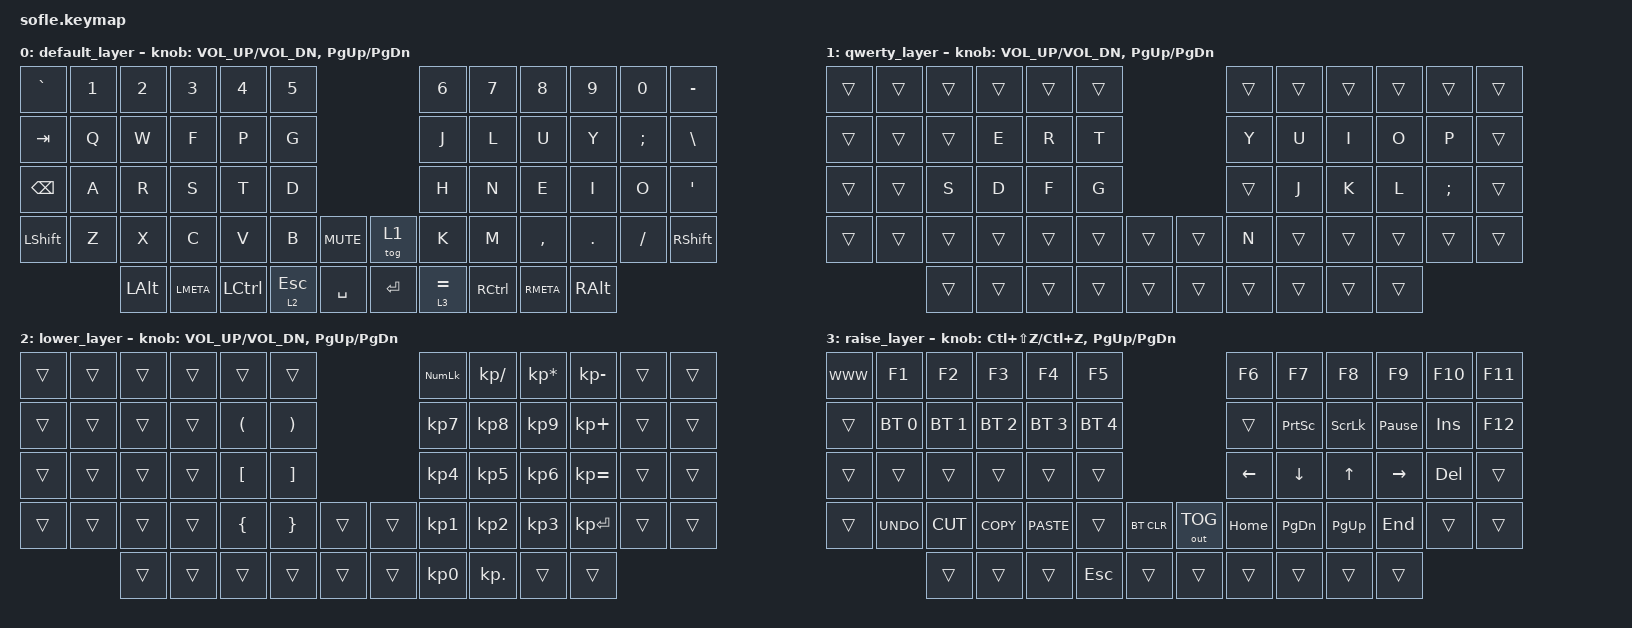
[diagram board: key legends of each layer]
/*
 * Copyright (c) 2020 The ZMK Contributors
 *
 * SPDX-License-Identifier: MIT
 */

#include <behaviors.dtsi>
#include <dt-bindings/zmk/keys.h>
#include <dt-bindings/zmk/bt.h>
#include <dt-bindings/zmk/outputs.h>

&lt {
    flavor = "hold-preferred";
};

/ {
    combos {
        compatible = "zmk,combos";
        combo_caps {
            timeout-ms = <40>;
            key-positions = <36 49>;
            bindings = <&kp CAPS>;
        };
    };

    keymap {
        compatible = "zmk,keymap";

        default_layer {
// -----------------------------------------------------------------------------------------------------------
// |  `    |  1  |  2   |  3   |  4   |  5   |                   |  6   |  7  |  8   |  9   |   0   |   -   |
// |  TAB  |  Q  |  W   |  F   |  P   |  G   |                   |  J   |  L  |  U   |  Y   |   ;   |   \   |
// | BKSPC |  A  |  R   |  S   |  T   |  D   |                   |  H   |  N  |  E   |  I   |   O   |   '   |
// | SHIFT |  Z  |  X   |  C   |  V   |  B   |  MUTE  |  |QWERTY |  K   |  M  |  ,   |  .   |   /   | SHIFT |
//               | ALT  | META | CTRL |ESC/LO|  SPACE |  | ENTER | =/RA | CTRL| META | ALT  |
            bindings = <
&kp GRAVE &kp N1 &kp N2    &kp N3    &kp N4    &kp N5                           &kp N6      &kp N7    &kp N8      &kp N9   &kp N0   &kp MINUS
&kp TAB   &kp Q  &kp W     &kp F     &kp P     &kp G                            &kp J       &kp L     &kp U       &kp Y    &kp SEMI &kp BSLH
&kp BSPC  &kp A  &kp R     &kp S     &kp T     &kp D                            &kp H       &kp N     &kp E       &kp I    &kp O    &kp SQT
&kp LSHFT &kp Z  &kp X     &kp C     &kp V     &kp B     &kp C_MUTE   &tog 1    &kp K       &kp M     &kp COMMA   &kp DOT  &kp FSLH &kp RSHFT
                 &kp LALT  &kp LMETA &kp LCTRL &lt 2 ESC &kp SPACE    &kp RET   &lt 3 EQUAL &kp RCTRL &kp RMETA   &kp RALT
            >;

            sensor-bindings = <&inc_dec_kp C_VOL_UP C_VOL_DN &inc_dec_kp PG_UP PG_DN>;
        };
 
        qwerty_layer {
// --------------------------------------------------------------------------------------------------------
// |     |      |      |       |       |     |                |      |      |      |      |       |       |
// |     |      |      |   E   |   R   |  T  |                |   Y  |   U  |   I  |   O  |  P    |       |
// |     |      |  S   |   D   |   F   |  G  |                |      |   J  |   K  |   L  |  ;    |       |
// |     |      |      |       |       |     |      |  |      |   N  |      |      |      |       |       |
//              |      |       |       |     |      |  |      |      |      |      |      |
            bindings = <
&trans    &trans       &trans       &trans       &trans       &trans                          &trans    &trans    &trans    &trans    &trans    &trans
&trans    &trans       &trans       &kp E        &kp R        &kp T                           &kp Y     &kp U     &kp I     &kp O     &kp P     &trans
&trans    &trans       &kp S        &kp D        &kp F        &kp G                           &trans    &kp J     &kp K     &kp L     &kp SEMI  &trans
&trans    &trans       &trans       &trans       &trans       &trans       &trans     &trans  &kp N     &trans    &trans    &trans    &trans    &trans
                       &trans       &trans       &trans       &trans       &trans     &trans  &trans    &trans    &trans    &trans
            >;

            sensor-bindings = <&inc_dec_kp C_VOL_UP C_VOL_DN &inc_dec_kp PG_UP PG_DN>;
        };

        lower_layer {
// -----------------------------------------------------------------------------------------------------------
// |       |      |      |      |     |     |                   | NUM  |  /   |  *   |   -   |       |       |
// |       |      |      |      |  (  |  )  |                   |  7   |  8   |  9   |   +   |       |       |
// |       |      |      |      |  [  |  ]  |                   |  4   |  5   |  6   |   =   |       |       |
// |       |      |      |      |  {  |  }  |        |  |       |  1   |  2   |  3   | ENTER |       |       |
//                |      |      |     |     |        |  |       |  0   |  .   |      |       |
            bindings = <
&trans    &trans    &trans    &trans      &trans    &trans                    &kp KP_NUM &kp KP_SLASH &kp KP_ASTERISK &kp KP_MINUS &trans &trans
&trans    &trans    &trans    &trans      &kp LPAR  &kp RPAR                  &kp KP_N7  &kp KP_N8    &kp KP_N9       &kp KP_PLUS  &trans &trans
&trans    &trans    &trans    &trans      &kp LBKT  &kp RBKT                  &kp KP_N4  &kp KP_N5    &kp KP_N6       &kp KP_EQUAL &trans &trans
&trans    &trans    &trans    &trans      &kp LBRC  &kp RBRC &trans   &trans  &kp KP_N1  &kp KP_N2    &kp KP_N3       &kp KP_ENTER &trans &trans
                    &trans    &trans      &trans    &trans   &trans   &trans  &kp KP_N0  &kp KP_DOT   &trans          &trans
            >;

            sensor-bindings = <&inc_dec_kp C_VOL_UP C_VOL_DN &inc_dec_kp PG_UP PG_DN>;
        };

        raise_layer {
// --------------------------------------------------------------------------------------------------------
// |     |  F1  |  F2  |  F3   |  F4   |  F5 |                |  F6  |  F7  |  F8  |  F9  |  F10  |  F11  |
// |     | BT1  | BT2  |  BT3  |  BT4  | BT5 |                |      | PSCRN| SLCK | PAUSE|  INS  |  F12  |
// |     |      |      |       |       |     |                |   <- |  v   |   ^  |  ->  |  DEL  |       |
// |     | UNDO | CUT  | COPY  | PASTE |     |BTCLR |  |OUT_TO| HOME | PGDN | PGUP | END  |       |       |
//              |      |       |       | ESC |      |  |      |      |      |      |      |
            bindings = <
&kp K_WWW &kp F1       &kp F2       &kp F3       &kp F4       &kp F5                               &kp F6    &kp F7    &kp F8    &kp F9          &kp F10 &kp F11
&trans    &bt BT_SEL 0 &bt BT_SEL 1 &bt BT_SEL 2 &bt BT_SEL 3 &bt BT_SEL 4                         &trans    &kp PSCRN &kp SLCK  &kp PAUSE_BREAK &kp INS &kp F12
&trans    &trans       &trans       &trans       &trans       &trans                               &kp LEFT  &kp DOWN  &kp UP    &kp RIGHT       &kp DEL &trans
&trans    &kp K_UNDO   &kp K_CUT    &kp K_COPY   &kp K_PASTE  &trans       &bt BT_CLR &out OUT_TOG &kp HOME  &kp PG_DN &kp PG_UP &kp END         &trans  &trans
                       &trans       &trans       &trans       &kp ESC      &trans     &trans       &trans    &trans    &trans    &trans
            >;

            sensor-bindings = <&inc_dec_kp LC(LS(Z)) LC(Z) &inc_dec_kp PG_UP PG_DN>;
        };
    };
};
